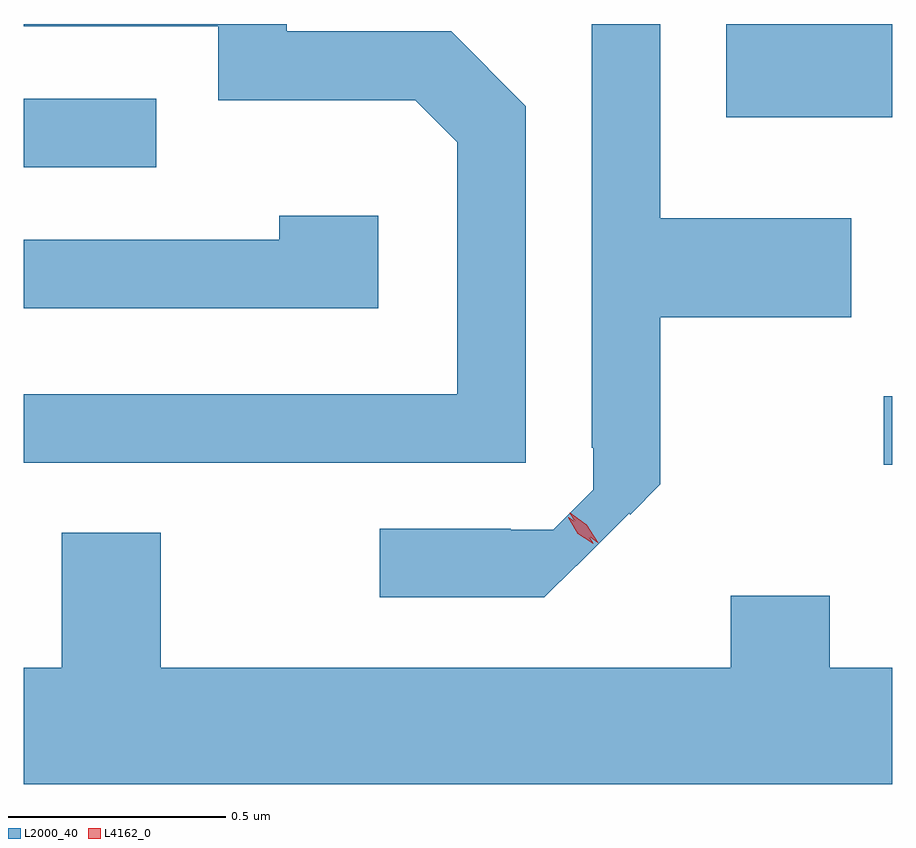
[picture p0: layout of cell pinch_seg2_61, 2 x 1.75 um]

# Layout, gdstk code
import gdstk
lib = gdstk.Library(unit=1e-6, precision=1e-09)
def R(c, l, rs):  # rectangles x0, y0, x1, y1
    for r in rs: c.add(gdstk.rectangle(r[:2], r[2:], *l))
def P(c, l, *ps):  # polygons
    for p in ps: c.add(gdstk.Polygon(p, *l))
L2000_40 = (2000, 40)
L4162_0 = (4162, 0)

pinch_seg2_61 = lib.new_cell('pinch_seg2_61')
R(pinch_seg2_61, L2000_40, [(1224.413,1040.171,1224.433,1040.329), (1222.433,1040.856,1222.738,1041.014), (1224.051,1040.971,1224.433,1041.186)])
P(pinch_seg2_61, L2000_40, [(1223.705,1039.939),(1223.706,1039.938),(1223.827,1040.06),(1223.83,1040.056),(1223.899,1040.126),(1223.899,1040.511),(1224.339,1040.511),(1224.339,1040.739),(1223.899,1040.739),(1223.899,1041.186),(1223.741,1041.186),(1223.741,1040.21),(1223.744,1040.21),(1223.744,1040.113),(1223.652,1040.021),(1223.555,1040.021),(1223.555,1040.024),(1223.253,1040.024),(1223.253,1039.866),(1223.632,1039.866)],
  [(1223.589,1040.997),(1223.417,1041.169),(1223.039,1041.169),(1223.039,1041.186),(1222.433,1041.186),(1222.433,1041.181),(1222.881,1041.181),(1222.881,1041.011),(1223.334,1041.011),(1223.431,1040.914),(1223.431,1040.334),(1222.433,1040.334),(1222.433,1040.176),(1223.589,1040.176)],
  [(1223.249,1040.744),(1223.021,1040.744),(1223.021,1040.689),(1222.433,1040.689),(1222.433,1040.531),(1223.249,1040.531)],
  [(1224.433,1039.704),(1224.289,1039.704),(1224.289,1039.869),(1224.061,1039.869),(1224.061,1039.704),(1222.749,1039.704),(1222.749,1040.014),(1222.521,1040.014),(1222.521,1039.704),(1222.433,1039.704),(1222.433,1039.436),(1224.433,1039.436)])
P(pinch_seg2_61, L4162_0, [(1223.755,1039.992),(1223.716,1040.02),(1223.69,1040.06),(1223.69,1040.061),(1223.691,1040.061),(1223.73,1040.033),(1223.756,1039.992),(1223.756,1039.992)],
  [(1223.744,1039.989),(1223.709,1040.012),(1223.687,1040.049),(1223.687,1040.05),(1223.688,1040.05),(1223.723,1040.026),(1223.745,1039.99),(1223.745,1039.989)])

lib.write_gds('pinch_seg2_61.gds')
